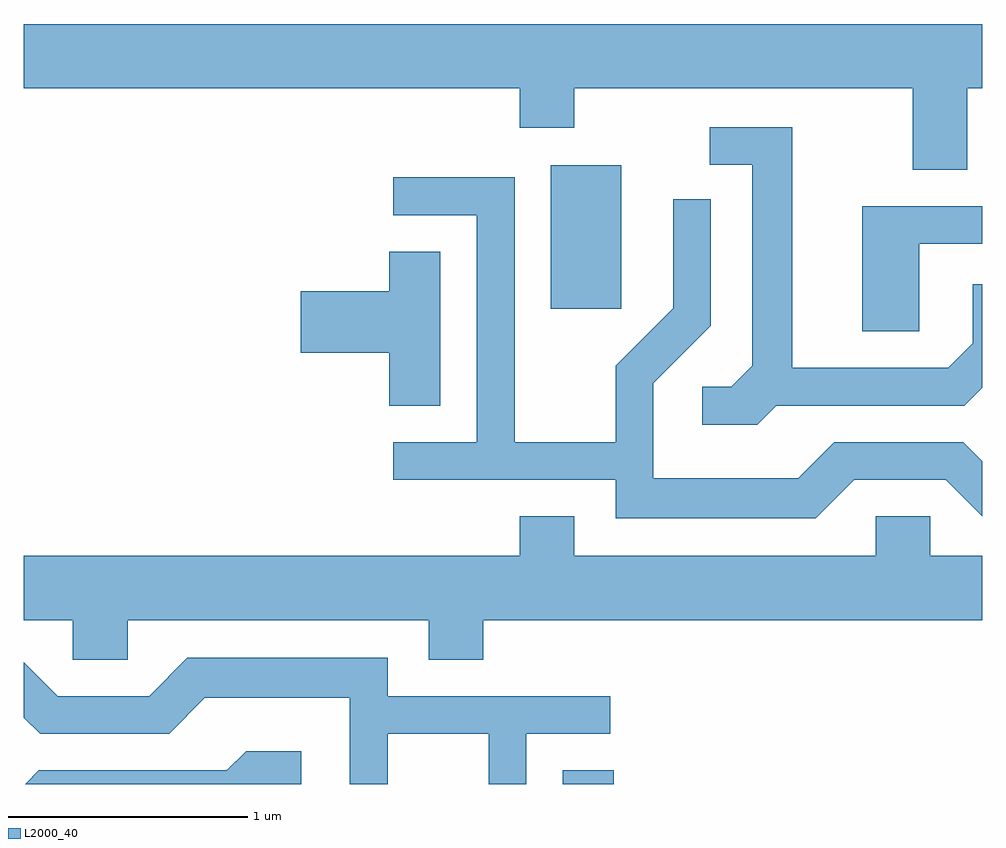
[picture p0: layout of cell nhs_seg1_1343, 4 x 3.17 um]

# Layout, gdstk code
import gdstk
lib = gdstk.Library(unit=1e-6, precision=1e-09)
def R(c, l, rs):  # rectangles x0, y0, x1, y1
    for r in rs: c.add(gdstk.rectangle(r[:2], r[2:], *l))
def P(c, l, *ps):  # polygons
    for p in ps: c.add(gdstk.Polygon(p, *l))
L2000_40 = (2000, 40)

nhs_seg1_1343 = lib.new_cell('nhs_seg1_1343')
R(nhs_seg1_1343, L2000_40, [(227.861,967.712,228.074,967.769), (227.811,969.696,228.104,970.294)])
P(nhs_seg1_1343, L2000_40, [(229.549,970.616),(229.611,970.616),(229.611,970.884),(225.611,970.884),(225.611,970.616),(227.681,970.616),(227.681,970.451),(227.909,970.451),(227.909,970.616),(229.321,970.616),(229.321,970.276),(229.549,970.276)],
  [(228.752,969.291),(229.537,969.291),(229.611,969.365),(229.611,969.798),(229.571,969.798),(229.571,969.552),(229.469,969.449),(228.819,969.449),(228.819,970.454),(228.473,970.454),(228.473,970.296),(228.651,970.296),(228.651,969.457),(228.564,969.369),(228.443,969.369),(228.443,969.211),(228.672,969.211)],
  [(229.077,968.981),(229.459,968.981),(229.611,968.829),(229.611,969.06),(229.532,969.139),(228.994,969.139),(228.844,968.989),(228.239,968.989),(228.239,969.384),(228.479,969.624),(228.479,970.153),(228.321,970.153),(228.321,969.697),(228.081,969.457),(228.081,969.139),(227.659,969.139),(227.659,970.244),(227.153,970.244),(227.153,970.086),(227.501,970.086),(227.501,969.139),(227.153,969.139),(227.153,968.981),(228.081,968.981),(228.081,968.821),(228.917,968.821)],
  [(229.349,969.966),(229.611,969.966),(229.611,970.124),(229.111,970.124),(229.111,969.601),(229.349,969.601)],
  [(227.349,969.934),(227.136,969.934),(227.136,969.769),(226.766,969.769),(226.766,969.511),(227.136,969.511),(227.136,969.291),(227.349,969.291)],
  [(226.044,968.396),(227.301,968.396),(227.301,968.231),(227.529,968.231),(227.529,968.396),(229.611,968.396),(229.611,968.664),(229.394,968.664),(229.394,968.829),(229.166,968.829),(229.166,968.664),(227.909,968.664),(227.909,968.829),(227.681,968.829),(227.681,968.664),(225.611,968.664),(225.611,968.396),(225.816,968.396),(225.816,968.231),(226.044,968.231)],
  [(227.129,967.921),(227.551,967.921),(227.551,967.712),(227.709,967.712),(227.709,967.921),(228.058,967.921),(228.058,968.079),(227.129,968.079),(227.129,968.239),(226.294,968.239),(226.134,968.079),(225.752,968.079),(225.611,968.22),(225.611,967.989),(225.679,967.921),(226.217,967.921),(226.367,968.071),(226.971,968.071),(226.971,967.712),(227.129,967.712)],
  [(226.768,967.849),(226.539,967.849),(226.459,967.769),(225.674,967.769),(225.617,967.712),(226.768,967.712)])

lib.write_gds('nhs_seg1_1343.gds')
